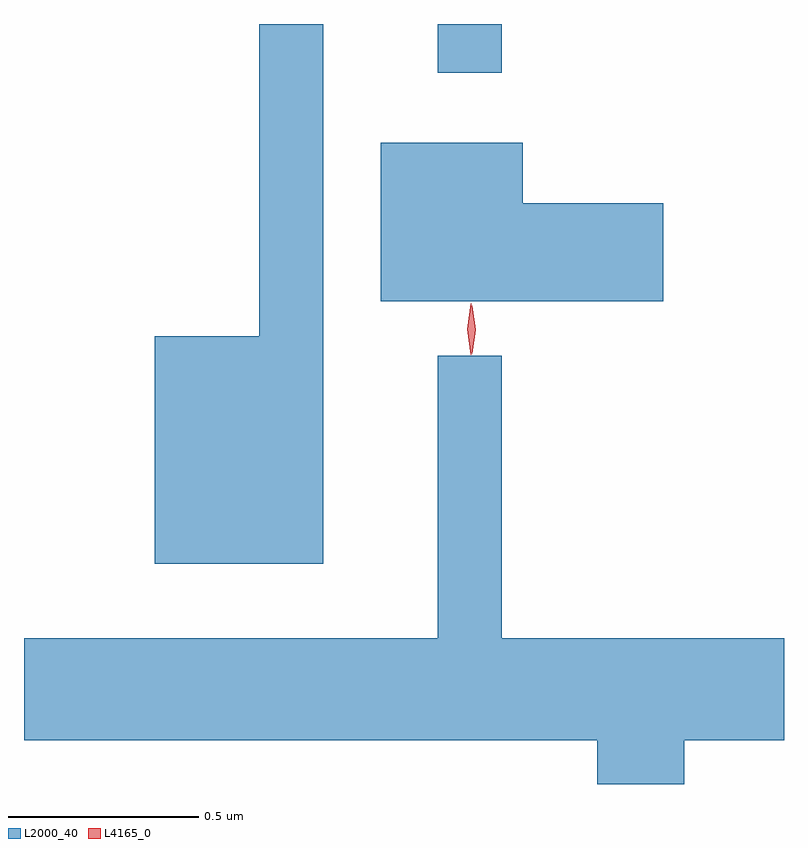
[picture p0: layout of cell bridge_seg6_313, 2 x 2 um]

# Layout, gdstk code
import gdstk
lib = gdstk.Library(unit=1e-6, precision=1e-09)
def R(c, l, rs):  # rectangles x0, y0, x1, y1
    for r in rs: c.add(gdstk.rectangle(r[:2], r[2:], *l))
def P(c, l, *ps):  # polygons
    for p in ps: c.add(gdstk.Polygon(p, *l))
L2000_40 = (2000, 40)
L4165_0 = (4165, 0)

bridge_seg6_313 = lib.new_cell('bridge_seg6_313')
R(bridge_seg6_313, L2000_40, [(1282.721,1534.033,1282.889,1534.161)])
P(bridge_seg6_313, L2000_40, [(1282.419,1534.161),(1282.251,1534.161),(1282.251,1533.339),(1281.976,1533.339),(1281.976,1532.741),(1282.419,1532.741)],
  [(1283.314,1533.689),(1282.944,1533.689),(1282.944,1533.849),(1282.571,1533.849),(1282.571,1533.431),(1283.314,1533.431)],
  [(1283.369,1532.276),(1283.632,1532.276),(1283.632,1532.544),(1282.889,1532.544),(1282.889,1533.288),(1282.721,1533.288),(1282.721,1532.544),(1281.632,1532.544),(1281.632,1532.276),(1283.141,1532.276),(1283.141,1532.161),(1283.369,1532.161)])
P(bridge_seg6_313, L4165_0, [(1282.808,1533.29),(1282.799,1533.358),(1282.808,1533.425),(1282.809,1533.426),(1282.809,1533.425),(1282.819,1533.358),(1282.809,1533.29),(1282.809,1533.29)],
  [(1282.811,1533.293),(1282.811,1533.293),(1282.801,1533.356),(1282.81,1533.419),(1282.811,1533.42),(1282.811,1533.419),(1282.821,1533.356),(1282.812,1533.293)])

lib.write_gds('bridge_seg6_313.gds')
